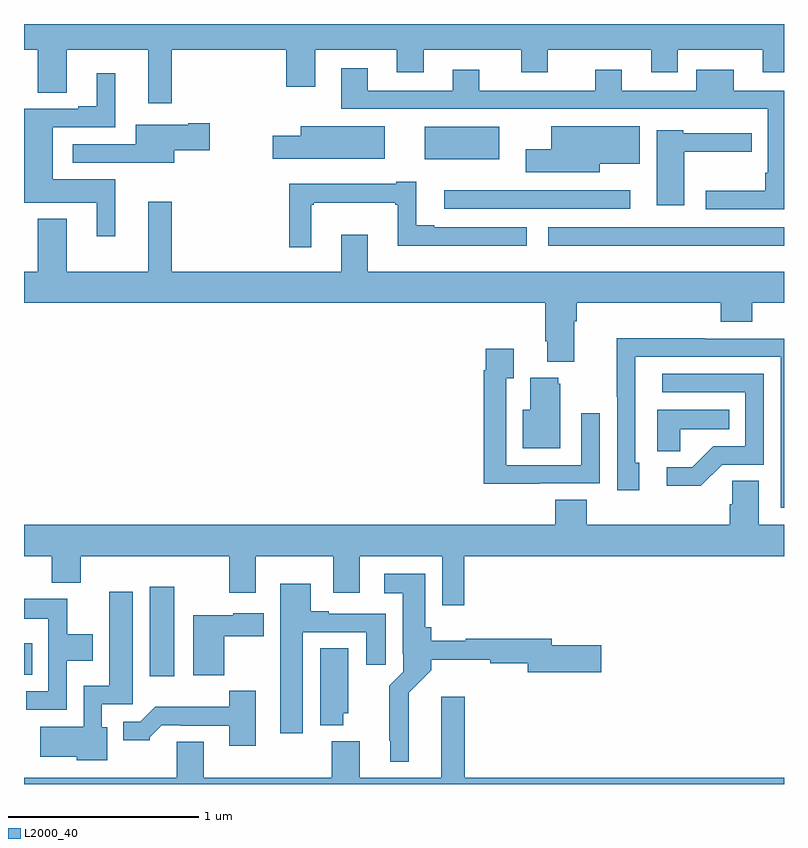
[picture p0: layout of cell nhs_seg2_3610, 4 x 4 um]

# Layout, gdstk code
import gdstk
lib = gdstk.Library(unit=1e-6, precision=1e-09)
def R(c, l, rs):  # rectangles x0, y0, x1, y1
    for r in rs: c.add(gdstk.rectangle(r[:2], r[2:], *l))
def P(c, l, *ps):  # polygons
    for p in ps: c.add(gdstk.Polygon(p, *l))
L2000_40 = (2000, 40)

nhs_seg2_3610 = lib.new_cell('nhs_seg2_3610')
R(nhs_seg2_3610, L2000_40, [(301.661,616.368,301.792,616.837), (301,616.376,301.043,616.54), (303.759,618.632,305,618.729), (303.11,619.088,303.502,619.258)])
P(nhs_seg2_3610, L2000_40, [(301.777,619.664),(302.381,619.664),(302.381,619.47),(302.533,619.47),(302.533,619.664),(302.963,619.664),(302.963,619.547),(303.103,619.547),(303.103,619.664),(303.617,619.664),(303.617,619.547),(303.757,619.547),(303.757,619.664),(304.301,619.664),(304.301,619.547),(304.441,619.547),(304.441,619.664),(304.889,619.664),(304.889,619.547),(305,619.547),(305,619.8),(301,619.8),(301,619.664),(301.073,619.664),(301.073,619.438),(301.225,619.438),(301.225,619.664),(301.655,619.664),(301.655,619.383),(301.777,619.383)],
  [(305,619.449),(304.735,619.449),(304.735,619.558),(304.538,619.558),(304.538,619.449),(304.147,619.449),(304.147,619.558),(304.007,619.558),(304.007,619.449),(303.397,619.449),(303.397,619.558),(303.257,619.558),(303.257,619.449),(302.809,619.449),(302.809,619.567),(302.669,619.567),(302.669,619.353),(304.914,619.353),(304.914,619.018),(304.902,619.018),(304.902,618.923),(304.587,618.923),(304.587,618.825),(305,618.825)],
  [(301.48,618.982),(301.15,618.982),(301.15,619.257),(301.48,619.257),(301.48,619.54),(301.382,619.54),(301.382,619.366),(301.286,619.366),(301.286,619.353),(301,619.353),(301,618.86),(301.382,618.86),(301.382,618.684),(301.48,618.684)],
  [(301.792,619.136),(301.978,619.136),(301.978,619.278),(301.865,619.278),(301.865,619.27),(301.589,619.27),(301.589,619.167),(301.257,619.167),(301.257,619.071),(301.576,619.071),(301.576,619.07),(301.792,619.07)],
  [(302.899,619.261),(302.456,619.261),(302.456,619.213),(302.31,619.213),(302.31,619.091),(302.899,619.091)],
  [(304.03,619.064),(304.24,619.064),(304.24,619.261),(303.776,619.261),(303.776,619.141),(303.642,619.141),(303.642,619.019),(304.03,619.019)],
  [(304.474,619.127),(304.829,619.127),(304.829,619.224),(304.47,619.224),(304.47,619.24),(304.331,619.24),(304.331,618.846),(304.474,618.846)],
  [(302.512,618.849),(302.524,618.849),(302.524,618.86),(302.955,618.86),(302.955,618.849),(302.966,618.849),(302.966,618.632),(303.646,618.632),(303.646,618.729),(303.16,618.729),(303.16,618.742),(303.064,618.742),(303.064,618.97),(302.96,618.97),(302.96,618.958),(302.395,618.958),(302.395,618.624),(302.512,618.624)],
  [(304.192,618.924),(303.498,618.924),(303.498,618.925),(303.213,618.925),(303.213,618.828),(304.192,618.828)],
  [(303.895,618.236),(303.908,618.236),(303.908,618.332),(304.667,618.332),(304.667,618.233),(304.832,618.233),(304.832,618.332),(305,618.332),(305,618.496),(302.809,618.496),(302.809,618.691),(302.669,618.691),(302.669,618.496),(301.777,618.496),(301.777,618.865),(301.655,618.865),(301.655,618.496),(301.225,618.496),(301.225,618.775),(301.073,618.775),(301.073,618.496),(301,618.496),(301,618.332),(303.743,618.332),(303.743,618.13),(303.755,618.13),(303.755,618.023),(303.895,618.023)],
  [(305,618.144),(304.583,618.144),(304.583,618.146),(304.12,618.146),(304.12,617.839),(304.122,617.839),(304.122,617.346),(304.237,617.346),(304.237,617.49),(304.218,617.49),(304.218,618.048),(304.983,618.048),(304.983,617.253),(305,617.253)],
  [(303.713,617.382),(304.029,617.382),(304.029,617.752),(303.933,617.752),(303.933,617.478),(303.537,617.478),(303.537,617.935),(303.577,617.935),(303.577,618.091),(303.429,618.091),(303.429,617.978),(303.421,617.978),(303.421,617.381),(303.713,617.381)],
  [(304.674,617.481),(304.893,617.481),(304.893,617.958),(304.359,617.958),(304.359,617.862),(304.797,617.862),(304.797,617.577),(304.628,617.577),(304.517,617.466),(304.383,617.466),(304.383,617.369),(304.561,617.369)],
  [(303.823,617.907),(303.812,617.907),(303.812,617.938),(303.665,617.938),(303.665,617.77),(303.626,617.77),(303.626,617.567),(303.823,617.567)],
  [(304.455,617.666),(304.712,617.666),(304.712,617.77),(304.334,617.77),(304.334,617.551),(304.455,617.551)],
  [(303.317,617),(305,617),(305,617.164),(304.867,617.164),(304.867,617.396),(304.728,617.396),(304.728,617.273),(304.715,617.273),(304.715,617.164),(303.962,617.164),(303.962,617.297),(303.797,617.297),(303.797,617.164),(301,617.164),(301,617),(301.145,617),(301.145,616.859),(301.298,616.859),(301.298,617),(302.081,617),(302.081,616.806),(302.221,616.806),(302.221,617),(302.627,617),(302.627,616.806),(302.767,616.806),(302.767,617),(303.201,617),(303.201,616.74),(303.317,616.74)],
  [(303.025,616.28),(303.143,616.398),(303.143,616.454),(303.454,616.454),(303.454,616.435),(303.65,616.435),(303.65,616.388),(304.039,616.388),(304.039,616.53),(303.778,616.53),(303.778,616.564),(303.326,616.564),(303.326,616.553),(303.143,616.553),(303.143,616.626),(303.112,616.626),(303.112,616.906),(302.895,616.906),(302.895,616.805),(302.993,616.805),(302.993,616.486),(302.997,616.486),(302.997,616.392),(302.923,616.318),(302.923,616.027),(302.927,616.027),(302.927,615.917),(303.025,615.917)],
  [(302.467,616.599),(302.801,616.599),(302.801,616.428),(302.905,616.428),(302.905,616.695),(302.605,616.695),(302.605,616.708),(302.509,616.708),(302.509,616.855),(302.348,616.855),(302.348,616.068),(302.467,616.068)],
  [(301.438,616.098),(301.41,616.098),(301.41,616.221),(301.573,616.221),(301.573,616.813),(301.448,616.813),(301.448,616.318),(301.314,616.318),(301.314,616.102),(301.086,616.102),(301.086,615.944),(301.278,615.944),(301.278,615.926),(301.438,615.926)],
  [(301.224,616.448),(301.363,616.448),(301.363,616.588),(301.227,616.588),(301.227,616.774),(301,616.774),(301,616.67),(301.128,616.67),(301.128,616.287),(301.011,616.287),(301.011,616.191),(301.224,616.191)],
  [(302.054,616.577),(302.263,616.577),(302.263,616.699),(302.1,616.699),(302.1,616.687),(301.892,616.687),(301.892,616.373),(302.054,616.373)],
  [(302.68,616.173),(302.707,616.173),(302.707,616.514),(302.558,616.514),(302.558,616.109),(302.68,616.109)],
  [(302.221,616.291),(302.079,616.291),(302.079,616.207),(301.69,616.207),(301.611,616.128),(301.523,616.128),(301.523,616.031),(301.662,616.031),(301.662,616.046),(301.726,616.11),(301.825,616.11),(301.825,616.107),(302.081,616.107),(302.081,616.002),(302.221,616.002)],
  [(305,615.832),(303.32,615.832),(303.32,616.258),(303.197,616.258),(303.197,615.832),(302.767,615.832),(302.767,616.024),(302.62,616.024),(302.62,615.832),(301.945,615.832),(301.945,616.022),(301.805,616.022),(301.805,615.832),(301,615.832),(301,615.8),(305,615.8)])

lib.write_gds('nhs_seg2_3610.gds')
